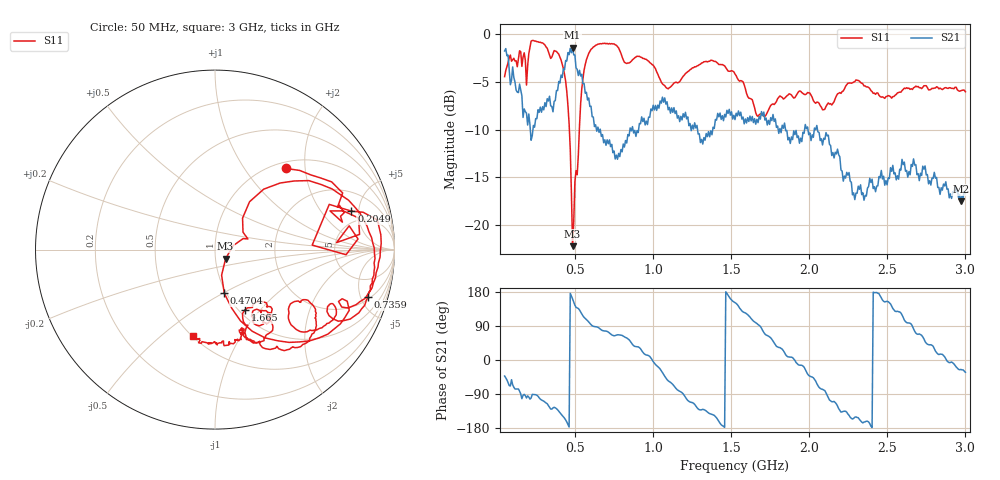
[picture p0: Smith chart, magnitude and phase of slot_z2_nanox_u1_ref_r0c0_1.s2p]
! nanovna_capture.py 2026-10-26T21:27:20+0900
! NanoVNA-F_V2 fw 0.6.0 SN 4A3639384505514B
! cal: load open short thru cal'ed  over 50000000-3000000000 Hz, 201 points
! points 401, avg 4
! slot line, carrier flat on board (z=1.6 mm), genuine Nano X back down, 0 deg (length across slot, USB toward SIG strip), centred, placement 1
# HZ S RI R 50
! S12 and S22 are not measured (written as 0)
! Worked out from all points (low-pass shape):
!   401 points, 50 MHz to 3 GHz, reference 50 ohm
!   highest |S21| = -1.42 dB at 485.1 MHz (marker M1); lowest = -17.5 dB at 2.97 GHz (marker M2)
!   |S21| within 3 dB of the highest: start of sweep to 82.91 MHz; 419.6 MHz to 545.8 MHz (126.3 MHz wide, 26.2 % of centre) (the widest 2 of 4)
!   lowest |S11| = -22.2 dB at 485.1 MHz (marker M3), VSWR 1.17, Z = 56 - j5.65 ohm
!   |S11| at or under -10 dB: 464.6 MHz to 528.5 MHz (63.89 MHz wide, 12.9 % of centre)
!   S12 and S22 are empty: the file has one direction only
!   S11 on the Smith chart (normalised r, x): 50 MHz: 1.12, +1.58; 204.9 MHz: 3.64, +4.15; 470.4 MHz: 0.98, -0.51; 735.9 MHz: 2.23, -5.81; 1.665 GHz: 1.07, -0.83; 3 GHz: 0.50, -0.64
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5e7  0.3942 0.4521  0.6044 -0.5501  0 0  0 0
1.68e8  0.7475 0.1325  -0.0213 -0.366  0 0  0 0
2.04875e8  0.7603 0.2143  -0.0522 -0.3786  0 0  0 0
2.63875e8  0.9082 -0.0976  -0.039 -0.4005  0 0  0 0
4.04e8  0.5788 -0.4922  -0.4189 -0.3652  0 0  0 0
4.4825e8  0.2068 -0.4545  -0.695 -0.204  0 0  0 0
4.70375e8  0.0518 -0.2436  -0.8422 0.0601  0 0  0 0
4.85125e8  0.0593 -0.0501  -0.8031 0.2753  0 0  0 0
5.44125e8  0.3631 0.371  -0.3192 0.5284  0 0  0 0
6.105e8  0.8265 0.1662  -0.00354 0.37  0 0  0 0
7.35875e8  0.8535 -0.2629  0.1067 0.2426  0 0  0 0
1.03825e9  0.4239 -0.4194  0.3845 -0.1423  0 0  0 0
1.207875e9  0.5421 -0.3056  -0.0562 -0.3857  0 0  0 0
1.525e9  0.2801 -0.5518  -0.3141 0.1697  0 0  0 0
1.665125e9  0.1671 -0.3359  -0.039 0.3563  0 0  0 0
1.842125e9  0.2999 -0.351  0.323 0.1143  0 0  0 0
2.019125e9  0.2185 -0.4133  0.2103 -0.2102  0 0  0 0
2.196125e9  0.3022 -0.3915  -0.1554 -0.1668  0 0  0 0
2.51325e9  0.1461 -0.4519  -0.1532 0.0855  0 0  0 0
2.668125e9  0.1129 -0.5117  0.0305 0.2202  0 0  0 0
2.9705e9  -0.0897 -0.4979  0.1209 -0.056  0 0  0 0
3e9  -0.1252 -0.4837  0.125 -0.0793  0 0  0 0
